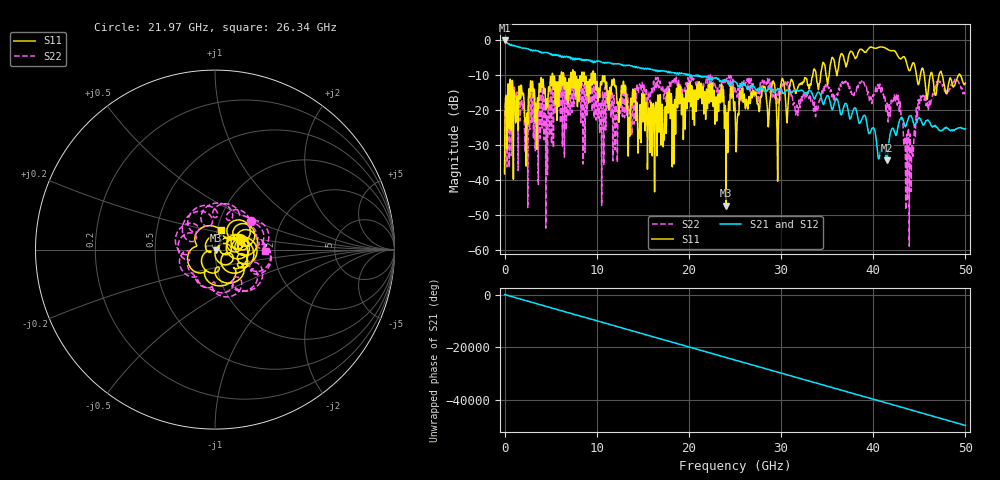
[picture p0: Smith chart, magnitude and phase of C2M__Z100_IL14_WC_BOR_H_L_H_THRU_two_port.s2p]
# GHz S RI R 50
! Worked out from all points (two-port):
!   5000 points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, 10 MHz to 50 GHz, reference 50 ohm
!   highest |S21| = -0.11 dB at 10 MHz (marker M1); lowest = -34.3 dB at 41.47 GHz (marker M2)
!   |S21| within 3 dB of the highest: start of sweep to 3.57 GHz; 3.621 GHz to 3.661 GHz (39.74 MHz wide, 1.09 % of centre)
!   lowest |S11| = -47.3 dB at 24.04 GHz (marker M3), VSWR 1.01, Z = 50.3 - j0.306 ohm
!   |S11| at or under -10 dB: start of sweep to 5.169 GHz; 9.854 GHz to 33.44 GHz (23.59 GHz wide, 109 % of centre); 47.48 GHz to 49.27 GHz (1.793 GHz wide, 3.71 % of centre)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
!   |S22| runs from -58.9 to -9.8 dB; largest |S21 - S12| = 1.2e-06
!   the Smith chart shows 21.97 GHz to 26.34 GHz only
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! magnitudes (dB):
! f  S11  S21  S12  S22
! 10 MHz  -38.3  -0.1  -0.1  -38.0
! 620 MHz  -11.2  -1.5  -1.5  -11.3
! 2.33 GHz  -28.0  -2.4  -2.4  -24.5
! 2.85 GHz  -11.7  -3.0  -3.0  -13.5
! 4.67 GHz  -19.3  -3.6  -3.6  -36.6
! 5.59 GHz  -11.9  -4.4  -4.4  -12.4
! 8.35 GHz  -10.6  -5.6  -5.6  -14.3
! 12.19 GHz  -17.1  -6.8  -6.8  -23.5
! 16.68 GHz  -16.3  -8.9  -8.9  -11.5
! 22.33 GHz  -12.4  -11.4  -11.4  -10.0
! 24.04 GHz  -47.3  -11.4  -11.4  -11.6
! 24.57 GHz  -13.5  -12.8  -12.8  -10.4
! 25.01 GHz  -19.2  -11.8  -11.8  -13.6
! 29.64 GHz  -39.0  -13.8  -13.8  -18.1
! 33.34 GHz  -10.9  -15.1  -15.1  -17.2
! 38.74 GHz  -2.6  -22.8  -22.8  -11.7
! 41.47 GHz  -2.5  -34.3  -34.3  -18.0
! 41.67 GHz  -2.8  -29.8  -29.8  -20.9
! 42.71 GHz  -4.7  -24.6  -24.6  -15.8
! 44.13 GHz  -7.6  -21.7  -21.7  -37.6
! 45.27 GHz  -8.2  -23.6  -23.6  -16.1
! 50 GHz  -12.3  -25.4  -25.4  -15.4
